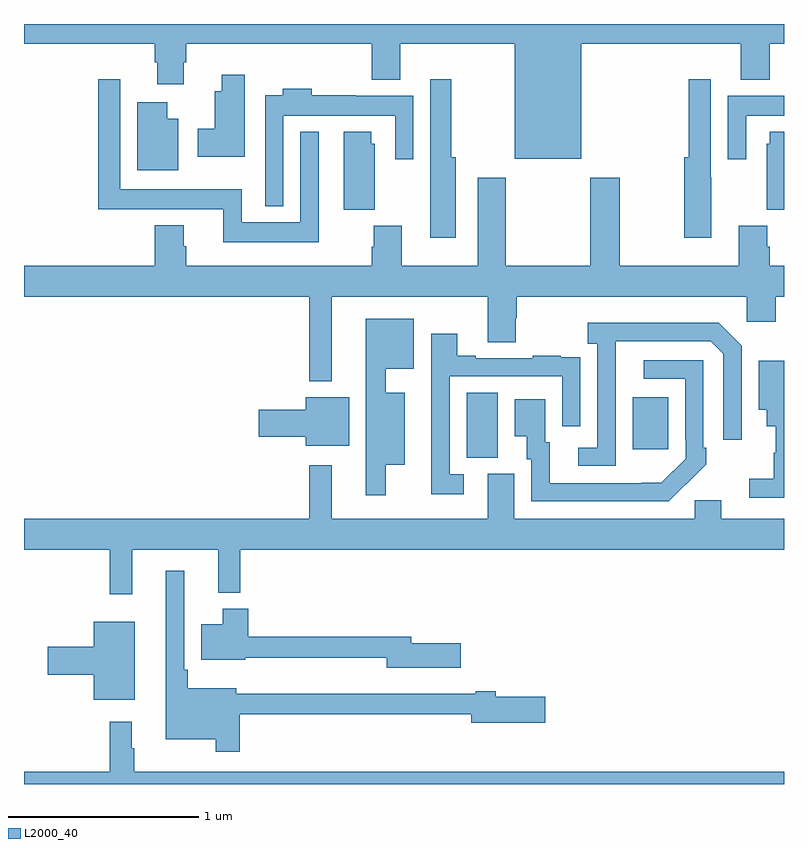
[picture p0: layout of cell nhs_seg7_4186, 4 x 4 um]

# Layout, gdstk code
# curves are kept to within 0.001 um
import gdstk
lib = gdstk.Library(unit=1e-6, precision=1e-09)
def R(c, l, rs):  # rectangles x0, y0, x1, y1
    for r in rs: c.add(gdstk.rectangle(r[:2], r[2:], *l))
def P(c, l, *ps):  # polygons
    for p in ps: c.add(gdstk.Polygon(p, *l))
L2000_40 = (2000, 40)

nhs_seg7_4186 = lib.new_cell('nhs_seg7_4186')
R(nhs_seg7_4186, L2000_40, [(377.33,1051.717,377.494,1052.06), (378.203,1051.761,378.391,1052.035)])
P(nhs_seg7_4186, L2000_40, [(377.932,1053.896),(378.773,1053.896),(378.773,1053.707),(378.926,1053.707),(378.926,1053.896),(379,1053.896),(379,1054),(375,1054),(375,1053.896),(375.689,1053.896),(375.689,1053.798),(375.701,1053.798),(375.701,1053.684),(375.841,1053.684),(375.841,1053.798),(375.854,1053.798),(375.854,1053.896),(376.829,1053.896),(376.829,1053.707),(376.981,1053.707),(376.981,1053.896),(377.582,1053.896),(377.582,1053.29),(377.932,1053.29)],
  [(376.162,1053.733),(376.04,1053.733),(376.04,1053.646),(376.004,1053.646),(376.004,1053.45),(375.915,1053.45),(375.915,1053.302),(376.162,1053.302)],
  [(376.552,1053.433),(376.455,1053.433),(376.455,1052.956),(376.146,1052.956),(376.146,1053.13),(375.507,1053.13),(375.507,1053.709),(375.391,1053.709),(375.391,1053.024),(375.514,1053.024),(375.514,1053.026),(376.049,1053.026),(376.049,1052.852),(376.552,1052.852)],
  [(378.616,1053.194),(378.615,1053.194),(378.615,1053.709),(378.499,1053.709),(378.499,1053.298),(378.475,1053.298),(378.475,1052.874),(378.616,1052.874)],
  [(377.272,1053.298),(377.248,1053.298),(377.248,1053.709),(377.139,1053.709),(377.139,1053.194),(377.138,1053.194),(377.138,1052.874),(377.272,1052.874)],
  [(376.365,1053.518),(376.953,1053.518),(376.953,1053.288),(377.049,1053.288),(377.049,1053.622),(376.745,1053.622),(376.745,1053.625),(376.514,1053.625),(376.514,1053.658),(376.361,1053.658),(376.361,1053.625),(376.269,1053.625),(376.269,1053.041),(376.365,1053.041)],
  [(378.801,1053.518),(379,1053.518),(379,1053.622),(378.705,1053.622),(378.705,1053.288),(378.801,1053.288)],
  [(375.811,1053.502),(375.754,1053.502),(375.754,1053.589),(375.596,1053.589),(375.596,1053.23),(375.811,1053.23)],
  [(379,1053.433),(378.926,1053.433),(378.926,1053.369),(378.908,1053.369),(378.908,1053.022),(379,1053.022)],
  [(376.846,1053.369),(376.828,1053.369),(376.828,1053.433),(376.682,1053.433),(376.682,1053.022),(376.846,1053.022)],
  [(376.621,1052.564),(377.441,1052.564),(377.441,1052.326),(377.589,1052.326),(377.589,1052.451),(377.594,1052.451),(377.594,1052.564),(378.804,1052.564),(378.804,1052.433),(378.956,1052.433),(378.956,1052.564),(379,1052.564),(379,1052.728),(378.926,1052.728),(378.926,1052.828),(378.913,1052.828),(378.913,1052.937),(378.761,1052.937),(378.761,1052.728),(378.135,1052.728),(378.135,1053.19),(377.98,1053.19),(377.98,1052.728),(377.535,1052.728),(377.535,1053.19),(377.387,1053.19),(377.387,1052.728),(376.989,1052.728),(376.989,1052.937),(376.841,1052.937),(376.841,1052.828),(376.829,1052.828),(376.829,1052.728),(375.854,1052.728),(375.854,1052.829),(375.841,1052.829),(375.841,1052.941),(375.689,1052.941),(375.689,1052.728),(375,1052.728),(375,1052.564),(376.5,1052.564),(376.5,1052.12),(376.621,1052.12)],
  [(376.903,1051.679),(377.005,1051.679),(377.005,1052.059),(376.903,1052.059),(376.903,1052.186),(377.05,1052.186),(377.05,1052.449),(376.799,1052.449),(376.799,1051.521),(376.903,1051.521)],
  [(378.114,1052.131),(378.115,1052.331),(378.615,1052.331),(378.681,1052.265),(378.681,1051.812),(378.777,1051.812),(378.777,1052.307),(378.656,1052.428),(377.967,1052.428),(377.967,1052.318),(378.018,1052.318),(378.018,1051.77),(377.916,1051.77),(377.916,1051.674),(378.114,1051.674)],
  [(377.314,1051.629),(377.241,1051.629),(377.241,1052.145),(377.832,1052.145),(377.832,1051.884),(377.928,1051.884),(377.928,1052.138),(377.927,1052.138),(377.927,1052.247),(377.825,1052.247),(377.825,1052.254),(377.677,1052.254),(377.677,1052.241),(377.377,1052.241),(377.377,1052.254),(377.281,1052.254),(377.281,1052.371),(377.144,1052.371),(377.144,1051.524),(377.314,1051.524)],
  [(378.485,1051.579),(378.486,1051.578),(378.591,1051.683),(378.591,1051.771),(378.576,1051.771),(378.576,1052.229),(378.261,1052.229),(378.261,1052.133),(378.48,1052.133),(378.48,1051.813),(378.483,1051.813),(378.483,1051.713),(378.355,1051.585),(377.767,1051.584),(377.767,1051.8),(377.743,1051.8),(377.743,1052.026),(377.582,1052.026),(377.582,1051.829),(377.645,1051.829),(377.645,1051.71),(377.67,1051.71),(377.67,1051.488),(378.394,1051.488)],
  [(379,1052.227),(378.866,1052.227),(378.866,1051.97),(378.908,1051.97),(378.908,1051.883),(378.956,1051.883),(378.956,1051.743),(378.945,1051.743),(378.945,1051.607),(378.816,1051.607),(378.816,1051.506),(379,1051.506)],
  [(376.711,1052.035),(376.484,1052.035),(376.484,1051.97),(376.236,1051.97),(376.236,1051.828),(376.484,1051.828),(376.484,1051.781),(376.711,1051.781)],
  [(379,1051.396),(378.67,1051.396),(378.67,1051.494),(378.531,1051.494),(378.531,1051.396),(377.581,1051.396),(377.581,1051.632),(377.441,1051.632),(377.441,1051.396),(376.621,1051.396),(376.621,1051.678),(376.5,1051.678),(376.5,1051.396),(375,1051.396),(375,1051.232),(375.451,1051.232),(375.451,1050.999),(375.569,1050.999),(375.569,1051.232),(376.022,1051.232),(376.022,1051.007),(376.139,1051.007),(376.139,1051.232),(379,1051.232)],
  [(376.136,1050.366),(377.354,1050.366),(377.354,1050.323),(377.743,1050.323),(377.743,1050.458),(377.482,1050.458),(377.482,1050.487),(377.378,1050.487),(377.378,1050.475),(376.814,1050.475),(376.814,1050.476),(376.117,1050.476),(376.117,1050.505),(375.863,1050.505),(375.863,1050.601),(375.843,1050.601),(375.843,1051.123),(375.746,1051.123),(375.746,1050.236),(376.008,1050.236),(376.008,1050.171),(376.136,1050.171)],
  [(377.299,1050.741),(377.038,1050.741),(377.038,1050.775),(376.181,1050.775),(376.181,1050.922),(376.046,1050.922),(376.046,1050.841),(375.932,1050.841),(375.932,1050.653),(376.164,1050.653),(376.164,1050.665),(376.91,1050.665),(376.91,1050.611),(377.299,1050.611)],
  [(375.583,1050.853),(375.368,1050.853),(375.368,1050.722),(375.126,1050.722),(375.126,1050.575),(375.368,1050.575),(375.368,1050.443),(375.583,1050.443)],
  [(379,1050.064),(375.58,1050.064),(375.58,1050.188),(375.568,1050.188),(375.568,1050.328),(375.451,1050.328),(375.451,1050.064),(375,1050.064),(375,1050),(379,1050)])

lib.write_gds('nhs_seg7_4186.gds')
